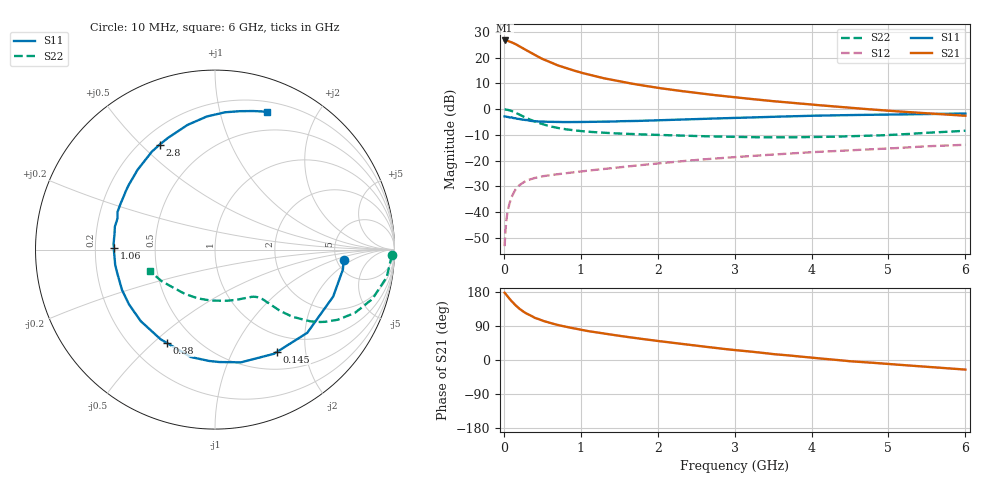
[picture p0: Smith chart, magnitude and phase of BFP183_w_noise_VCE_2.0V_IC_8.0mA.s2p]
! Infineon Technologies  Discrete & RF Semiconductors
! BFP183
! VCE = 2.0 V,  IC =  8.0 mA
! Common Emitter S-Parameters:  Jan 2016
# GHz  S  MA  R  50
!  f  S11  S21  S12  S22
! GHz  MAG  ANG  MAG  ANG  MAG  ANG  MAG  ANG
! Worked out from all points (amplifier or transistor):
!   210 points, 10 MHz to 6 GHz, reference 50 ohm
!   highest |S21| = 26.6 dB at 10 MHz (marker M1)
!   |S21| within 3 dB of that: start of sweep to 246.4 MHz
!   unconditionally stable (mu >= 1): 1.238 GHz to 5.73 GHz
!   at 185 MHz: K = 0.23, MSG = 27.4 dB, |S12| = -30.1 dB
!   at 1.52 GHz: K = 1.08, MAG = 14.8 dB, |S12| = -22.5 dB
!   at 6 GHz: K = 0.96, MSG = 5.6 dB, |S12| = -13.8 dB
!   lowest NFmin = 1.30 dB at 450 MHz
!   S11 on the Smith chart (normalised r, x): 10 MHz: 5.81, -1.36; 145 MHz: 0.74, -1.52; 380 MHz: 0.35, -0.55; 1.06 GHz: 0.28, +0.01; 2.8 GHz: 0.27, +0.57; 6 GHz: 0.30, +1.40
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0.01  0.7198 -4.5  21.42 177.5  0.0022 83.8  0.9871 -1.8
0.02  0.7211 -8.9  21.4 175.2  0.0042 88.5  0.9799 -3.7
0.05  0.7085 -21.7  21.08 167.2  0.0107 82.2  0.969 -9.1
0.095  0.69 -40.0  19.9 156.6  0.0186 70.0  0.9232 -16.5
0.145  0.6663 -58.6  18.39 145.9  0.0265 62.6  0.8608 -23.7
0.2  0.6446 -77.0  16.69 135.7  0.0332 56.5  0.7869 -29.8
0.24  0.627 -87.7  15.36 129.7  0.0366 52.4  0.7348 -33.2
0.3  0.6136 -102.7  13.67 122.0  0.0414 47.8  0.6634 -37.0
0.38  0.585 -117.5  11.7 113.9  0.0451 43.6  0.5924 -39.9
0.4  0.5842 -121.3  11.25 111.5  0.0461 42.7  0.5749 -40.8
0.5  0.5745 -136.1  9.411 103.8  0.0498 39.6  0.5102 -42.9
0.6  0.5681 -147.5  8.152 97.6  0.0524 38.7  0.4638 -44.1
0.8  0.5601 -164.6  6.295 87.7  0.0569 37.8  0.4069 -45.4
1.02  0.5627 -178.8  5.018 79.2  0.0621 37.8  0.3729 -46.8
1.06  0.5639 178.9  4.848 77.7  0.0632 38.0  0.3682 -47.1
1.5  0.5822 158.8  3.458 63.8  0.0742 39.4  0.3358 -51.5
2.02  0.6055 139.8  2.559 49.7  0.0889 39.2  0.3159 -59.5
2.8  0.6613 117.8  1.827 30.6  0.1114 37.1  0.2937 -76.0
3.1  0.6805 110.7  1.636 24.4  0.1199 35.7  0.2864 -83.6
4.1  0.7468 91.9  1.19 4.3  0.1485 29.7  0.2885 -112.3
5.1  0.7866 78.7  0.907 -12.0  0.1753 24.0  0.3197 -140.1
6  0.8209 69.4  0.743 -25.3  0.2033 16.3  0.3806 -161.6
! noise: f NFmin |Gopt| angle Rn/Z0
0.45  1.3  0.17  43  0.21
0.9  1.35  0.21  115  0.2
1.8  2.05  0.33  -177  0.14
